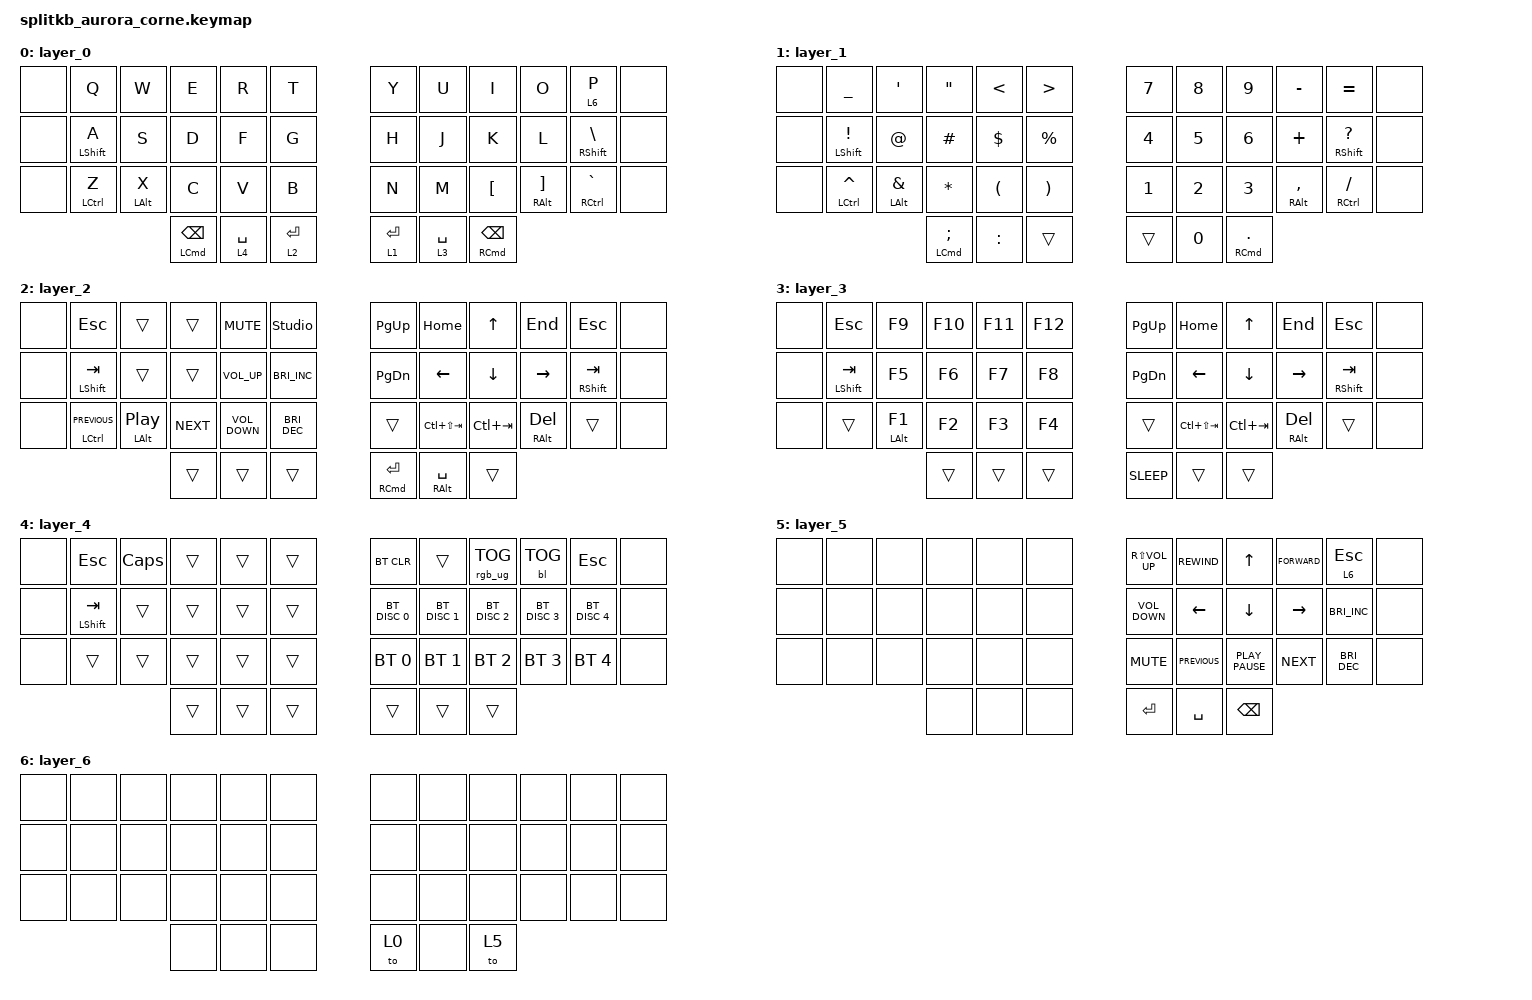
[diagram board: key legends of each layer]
#include <behaviors.dtsi>
#include <dt-bindings/zmk/backlight.h>
#include <dt-bindings/zmk/bt.h>
#include <dt-bindings/zmk/keys.h>
#include <dt-bindings/zmk/rgb.h>

/ {
    behaviors {
        hold_or_tap: hold_or_tap {
            compatible = "zmk,behavior-hold-tap";
            label = "HOLD_OR_TAP";
            bindings = <&kp>, <&kp>;

            #binding-cells = <2>;
            tapping-term-ms = <150>;
            hold-trigger-key-positions = <12 24 25 36 41 34 35 23>;
            flavor = "tap-preferred";
        };

        hold_trigger_2: hold_trigger_2 {
            compatible = "zmk,behavior-hold-tap";
            label = "HOLD_TRIGGER_2";
            bindings = <&kp>, <&kp>;

            #binding-cells = <2>;
            tapping-term-ms = <200>;
            hold-trigger-key-positions = <39 40>;
        };
    };

    keymap {
        compatible = "zmk,keymap";

        layer_0 {
            bindings = <
&none  &kp Q                        &kp W                    &kp E                                &kp R        &kp T          &kp Y        &kp U        &kp I                                 &kp O                        &lt 6 P                           &none
&none  &hold_or_tap LSHIFT A        &kp S                    &kp D                                &kp F        &kp G          &kp H        &kp J        &kp K                                 &kp L                        &hold_or_tap RSHIFT BSLH          &none
&none  &hold_or_tap LEFT_CONTROL Z  &hold_or_tap LEFT_ALT X  &kp C                                &kp V        &kp B          &kp N        &kp M        &kp LBKT                              &hold_or_tap RIGHT_ALT RBKT  &hold_or_tap RIGHT_CONTROL GRAVE  &none
                                                             &hold_or_tap LEFT_COMMAND BACKSPACE  &lt 4 SPACE  &lt 2 ENTER    &lt 1 ENTER  &lt 3 SPACE  &hold_or_tap RIGHT_COMMAND BACKSPACE
            >;
        };

        layer_1 {
            bindings = <
&none  &kp UNDERSCORE                       &kp SQT                          &kp DOUBLE_QUOTES                    &kp LESS_THAN         &kp GREATER_THAN         &kp N7  &kp N8  &kp N9                             &kp MINUS                     &kp EQUAL                          &none
&none  &hold_or_tap LEFT_SHIFT EXCLAMATION  &kp AT_SIGN                      &kp HASH                             &kp DOLLAR            &kp PERCENT              &kp N4  &kp N5  &kp N6                             &kp PLUS                      &hold_or_tap RIGHT_SHIFT QUESTION  &none
&none  &hold_or_tap LEFT_CONTROL CARET      &hold_or_tap LEFT_ALT AMPERSAND  &kp ASTERISK                         &kp LEFT_PARENTHESIS  &kp RIGHT_PARENTHESIS    &kp N1  &kp N2  &kp N3                             &hold_or_tap RIGHT_ALT COMMA  &hold_or_tap RIGHT_CONTROL SLASH   &none
                                                                             &hold_or_tap LEFT_COMMAND SEMICOLON  &kp COLON             &trans                   &trans  &kp N0  &hold_or_tap RIGHT_COMMAND PERIOD
            >;
        };

        layer_2 {
            bindings = <
&none  &kp ESC                               &trans                              &trans      &kp K_MUTE         &studio_unlock          &kp PAGE_UP                          &kp HOME                         &kp UP_ARROW    &kp END                        &kp ESCAPE                    &none
&none  &hold_or_tap LEFT_SHIFT TAB           &trans                              &trans      &kp C_VOLUME_UP    &kp C_BRIGHTNESS_INC    &kp PAGE_DOWN                        &kp LEFT_ARROW                   &kp DOWN_ARROW  &kp RIGHT_ARROW                &hold_or_tap RIGHT_SHIFT TAB  &none
&none  &hold_or_tap LEFT_CONTROL C_PREVIOUS  &hold_or_tap LEFT_ALT C_PLAY_PAUSE  &kp C_NEXT  &kp C_VOLUME_DOWN  &kp C_BRI_DEC           &trans                               &kp LC(LS(TAB))                  &kp LC(TAB)     &hold_or_tap RIGHT_ALT DELETE  &trans                        &none
                                                                                 &trans      &trans             &trans                  &hold_trigger_2 RIGHT_COMMAND ENTER  &hold_trigger_2 RIGHT_ALT SPACE  &trans
            >;
        };

        layer_3 {
            bindings = <
&none  &kp ESCAPE                   &kp F9                    &kp F10  &kp F11  &kp F12    &kp PAGE_UP    &kp HOME         &kp UP_ARROW    &kp END                        &kp ESC                       &none
&none  &hold_or_tap LEFT_SHIFT TAB  &kp F5                    &kp F6   &kp F7   &kp F8     &kp PAGE_DOWN  &kp LEFT_ARROW   &kp DOWN_ARROW  &kp RIGHT_ARROW                &hold_or_tap RIGHT_SHIFT TAB  &none
&none  &trans                       &hold_or_tap LEFT_ALT F1  &kp F2   &kp F3   &kp F4     &trans         &kp LC(LS(TAB))  &kp LC(TAB)     &hold_or_tap RIGHT_ALT DELETE  &trans                        &none
                                                              &trans   &trans   &trans     &kp C_SLEEP    &trans           &trans
            >;
        };

        layer_4 {
            bindings = <
&none  &kp ESCAPE                   &kp CAPSLOCK  &trans  &trans  &trans    &bt BT_CLR     &trans         &rgb_ug RGB_TOG  &bl BL_TOG     &kp ESCAPE     &none
&none  &hold_or_tap LEFT_SHIFT TAB  &trans        &trans  &trans  &trans    &bt BT_DISC 0  &bt BT_DISC 1  &bt BT_DISC 2    &bt BT_DISC 3  &bt BT_DISC 4  &none
&none  &trans                       &trans        &trans  &trans  &trans    &bt BT_SEL 0   &bt BT_SEL 1   &bt BT_SEL 2     &bt BT_SEL 3   &bt BT_SEL 4   &none
                                                  &trans  &trans  &trans    &trans         &trans         &trans
            >;
        };

        layer_5 {
            bindings = <
&none  &none  &none  &none  &none  &none    &kp RS(K_VOLUME_UP)  &kp C_REWIND    &kp UP_ARROW      &kp K_FORWARD  &lt 6 ESCAPE          &none
&none  &none  &none  &none  &none  &none    &kp K_VOLUME_DOWN    &kp LEFT        &kp DOWN          &kp RIGHT      &kp C_BRIGHTNESS_INC  &none
&none  &none  &none  &none  &none  &none    &kp K_MUTE           &kp K_PREVIOUS  &kp K_PLAY_PAUSE  &kp K_NEXT     &kp C_BRIGHTNESS_DEC  &none
                     &none  &none  &none    &kp ENTER            &kp SPACE       &kp BACKSPACE
            >;
        };

        layer_6 {
            bindings = <
&none  &none  &none  &none  &none  &none    &none  &none  &none  &none  &none  &none
&none  &none  &none  &none  &none  &none    &none  &none  &none  &none  &none  &none
&none  &none  &none  &none  &none  &none    &none  &none  &none  &none  &none  &none
                     &none  &none  &none    &to 0  &none  &to 5
            >;
        };
    };
};
